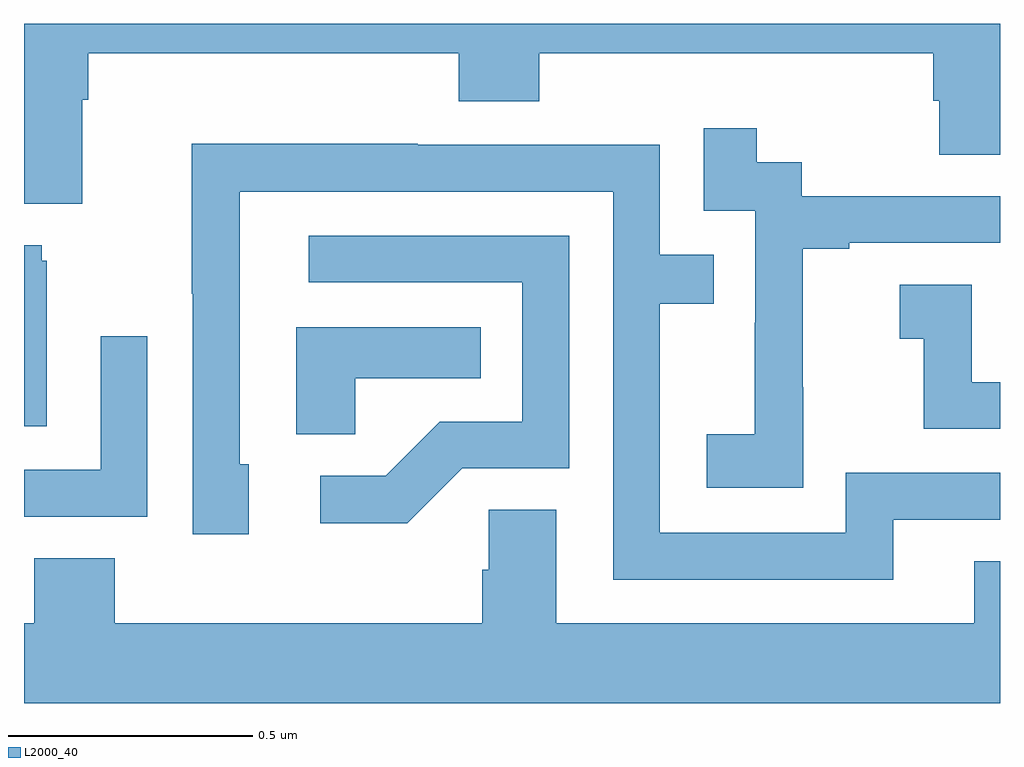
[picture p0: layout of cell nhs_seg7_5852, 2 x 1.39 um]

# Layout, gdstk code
import gdstk
lib = gdstk.Library(unit=1e-6, precision=1e-09)
def P(c, l, *ps):  # polygons
    for p in ps: c.add(gdstk.Polygon(p, *l))
L2000_40 = (2000, 40)

nhs_seg7_5852 = lib.new_cell('nhs_seg7_5852')
P(nhs_seg7_5852, L2000_40, [(191.119,1009.844),(191.132,1009.844),(191.132,1009.94),(191.891,1009.94),(191.891,1009.841),(192.056,1009.841),(192.056,1009.94),(192.863,1009.94),(192.863,1009.842),(192.875,1009.842),(192.875,1009.732),(193,1009.732),(193,1010),(191,1010),(191,1009.631),(191.119,1009.631)],
  [(192.597,1009.255),(192.596,1009.255),(192.596,1009.539),(192.691,1009.539),(192.691,1009.551),(193,1009.551),(193,1009.647),(192.594,1009.647),(192.594,1009.716),(192.502,1009.716),(192.502,1009.786),(192.393,1009.786),(192.393,1009.617),(192.498,1009.617),(192.498,1009.388),(192.497,1009.388),(192.497,1009.159),(192.399,1009.159),(192.399,1009.049),(192.597,1009.049)],
  [(192.781,1008.984),(193,1008.984),(193,1009.08),(192.684,1009.08),(192.684,1008.957),(192.303,1008.957),(192.303,1009.426),(192.413,1009.426),(192.413,1009.527),(192.303,1009.527),(192.303,1009.752),(191.807,1009.752),(191.807,1009.754),(191.344,1009.754),(191.344,1009.447),(191.346,1009.447),(191.346,1008.954),(191.461,1008.954),(191.461,1009.098),(191.442,1009.098),(191.442,1009.656),(192.207,1009.656),(192.207,1008.861),(192.781,1008.861)],
  [(191.898,1009.089),(192.117,1009.089),(192.117,1009.566),(191.583,1009.566),(191.583,1009.47),(192.021,1009.47),(192.021,1009.185),(191.852,1009.185),(191.741,1009.074),(191.607,1009.074),(191.607,1008.977),(191.785,1008.977)],
  [(191.047,1009.515),(191.036,1009.515),(191.036,1009.546),(191,1009.546),(191,1009.175),(191.047,1009.175)],
  [(193,1009.266),(192.942,1009.266),(192.942,1009.465),(192.795,1009.465),(192.795,1009.355),(192.844,1009.355),(192.844,1009.17),(193,1009.17)],
  [(191.679,1009.274),(191.936,1009.274),(191.936,1009.378),(191.558,1009.378),(191.558,1009.159),(191.679,1009.159)],
  [(191.253,1009.36),(191.157,1009.36),(191.157,1009.086),(191,1009.086),(191,1008.99),(191.253,1008.99)],
  [(193,1008.899),(192.947,1008.899),(192.947,1008.772),(192.091,1008.772),(192.091,1009.004),(191.952,1009.004),(191.952,1008.881),(191.939,1008.881),(191.939,1008.772),(191.186,1008.772),(191.186,1008.905),(191.021,1008.905),(191.021,1008.772),(191,1008.772),(191,1008.608),(193,1008.608)])

lib.write_gds('nhs_seg7_5852.gds')
